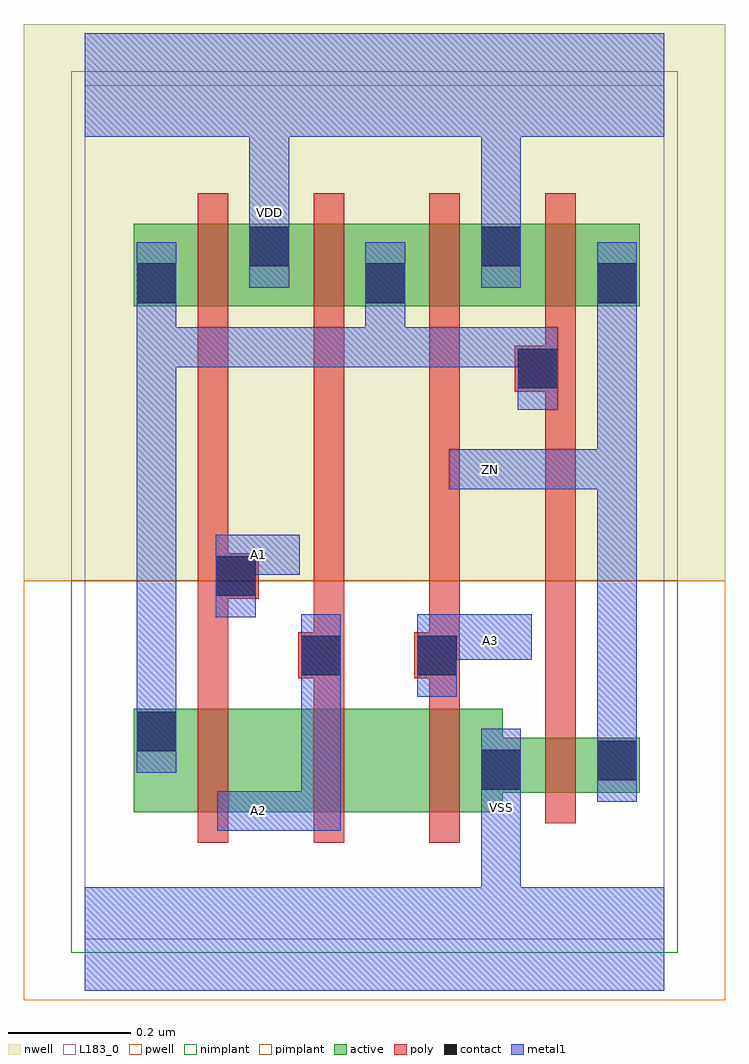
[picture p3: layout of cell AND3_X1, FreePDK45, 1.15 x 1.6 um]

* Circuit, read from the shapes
.subckt AND3_X1 A1 A2 A3 VDD VSS ZN
M1 n1 A1 n2 VSUBS nfet w=0.17u l=0.05u
M2 n3 A2 n1 VSUBS nfet w=0.17u l=0.05u
M3 VSS A3 n3 VSUBS nfet w=0.17u l=0.05u
M4 ZN n2 VSS VSUBS nfet w=0.09u l=0.05u
M5 VDD A1 n2 n4 pfet w=0.135u l=0.05u
M6 n2 A2 VDD n4 pfet w=0.135u l=0.05u
M7 VDD A3 n2 n4 pfet w=0.135u l=0.05u
M8 ZN n2 VDD n4 pfet w=0.135u l=0.05u
.ends

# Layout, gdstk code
import gdstk
lib = gdstk.Library(unit=1e-6, precision=1e-10)
def R(c, l, rs):  # rectangles x0, y0, x1, y1
    for r in rs: c.add(gdstk.rectangle(r[:2], r[2:], *l))
def P(c, l, *ps):  # polygons
    for p in ps: c.add(gdstk.Polygon(p, *l))
active = (1, 0)
pwell = (2, 0)
nwell = (3, 0)
nimplant = (4, 0)
pimplant = (5, 0)
poly = (9, 0)
contact = (10, 0)
metal1 = (11, 0)
L183_0 = (183, 0)

and3_x1 = lib.new_cell('AND3_X1')
P(and3_x1, active, [(0.08,0.2075),(0.185,0.2075),(0.235,0.2075),(0.375,0.2075),(0.425,0.2075),(0.565,0.2075),(0.615,0.2075),(0.685,0.2075),(0.685,0.24),(0.755,0.24),(0.805,0.24),(0.91,0.24),(0.91,0.33),(0.805,0.33),(0.755,0.33),(0.685,0.33),(0.685,0.3775),(0.615,0.3775),(0.565,0.3775),(0.425,0.3775),(0.375,0.3775),(0.235,0.3775),(0.185,0.3775),(0.08,0.3775)],
  [(0.08,1.0375),(0.185,1.0375),(0.235,1.0375),(0.375,1.0375),(0.425,1.0375),(0.565,1.0375),(0.615,1.0375),(0.755,1.0375),(0.805,1.0375),(0.91,1.0375),(0.91,1.1725),(0.805,1.1725),(0.755,1.1725),(0.615,1.1725),(0.565,1.1725),(0.425,1.1725),(0.375,1.1725),(0.235,1.1725),(0.185,1.1725),(0.08,1.1725)])
P(and3_x1, pwell, [(-0.1,-0.1),(1.05,-0.1),(1.05,0.5875),(0.85,0.5875),(0.1,0.5875),(-0.1,0.5875)])
P(and3_x1, nwell, [(-0.1,0.5875),(0.1,0.5875),(0.85,0.5875),(1.05,0.5875),(1.05,1.5),(-0.1,1.5)])
R(and3_x1, nimplant, [(-0.0225,-0.0225,0.9725,0.5875)])
R(and3_x1, pimplant, [(-0.0225,0.5875,0.9725,1.4225)])
P(and3_x1, poly, [(0.185,0.1575),(0.235,0.1575),(0.235,0.2075),(0.235,0.3775),(0.235,0.5575),(0.285,0.5575),(0.285,0.6325),(0.235,0.6325),(0.235,1.0375),(0.235,1.1725),(0.235,1.2225),(0.185,1.2225),(0.185,1.1725),(0.185,1.0375),(0.185,0.3775),(0.185,0.2075)],
  [(0.35,0.4275),(0.375,0.4275),(0.375,0.3775),(0.375,0.2075),(0.375,0.1575),(0.425,0.1575),(0.425,0.2075),(0.425,0.3775),(0.425,1.0375),(0.425,1.1725),(0.425,1.2225),(0.375,1.2225),(0.375,1.1725),(0.375,1.0375),(0.375,0.5025),(0.35,0.5025)],
  [(0.54,0.4275),(0.565,0.4275),(0.565,0.3775),(0.565,0.2075),(0.565,0.1575),(0.615,0.1575),(0.615,0.2075),(0.615,0.3775),(0.615,1.0375),(0.615,1.1725),(0.615,1.2225),(0.565,1.2225),(0.565,1.1725),(0.565,1.0375),(0.565,0.5025),(0.54,0.5025)],
  [(0.705,0.8975),(0.755,0.8975),(0.755,0.33),(0.755,0.24),(0.755,0.19),(0.805,0.19),(0.805,0.24),(0.805,0.33),(0.805,1.0375),(0.805,1.1725),(0.805,1.2225),(0.755,1.2225),(0.755,1.1725),(0.755,1.0375),(0.755,0.9725),(0.705,0.9725)])
R(and3_x1, contact, [(0.65,0.245,0.715,0.31), (0.84,0.26,0.905,0.325), (0.085,0.3075,0.15,0.3725), (0.355,0.4325,0.42,0.4975), (0.545,0.4325,0.61,0.4975), (0.215,0.5625,0.28,0.6275), (0.71,0.9025,0.775,0.9675), (0.085,1.0425,0.15,1.1075), (0.46,1.0425,0.525,1.1075), (0.84,1.0425,0.905,1.1075), (0.27,1.1025,0.335,1.1675), (0.65,1.1025,0.715,1.1675)])
P(and3_x1, metal1, [(0.085,0.2725),(0.15,0.2725),(0.15,0.9375),(0.71,0.9375),(0.71,0.8675),(0.775,0.8675),(0.775,1.0025),(0.525,1.0025),(0.525,1.1425),(0.46,1.1425),(0.46,1.0025),(0.15,1.0025),(0.15,1.1425),(0.085,1.1425)],
  [(0.5975,0.7375),(0.84,0.7375),(0.84,0.225),(0.905,0.225),(0.905,1.1425),(0.84,1.1425),(0.84,0.8025),(0.5975,0.8025)],
  [(0,-0.085),(0.95,-0.085),(0.95,0.085),(0.715,0.085),(0.715,0.345),(0.65,0.345),(0.65,0.085),(0,0.085)],
  [(0,1.315),(0.27,1.315),(0.27,1.0675),(0.335,1.0675),(0.335,1.315),(0.65,1.315),(0.65,1.0675),(0.715,1.0675),(0.715,1.315),(0.95,1.315),(0.95,1.485),(0,1.485)],
  [(0.215,0.5275),(0.28,0.5275),(0.28,0.5975),(0.3525,0.5975),(0.3525,0.6625),(0.215,0.6625)],
  [(0.2175,0.1775),(0.42,0.1775),(0.42,0.5325),(0.355,0.5325),(0.355,0.2425),(0.2175,0.2425)],
  [(0.545,0.3975),(0.61,0.3975),(0.61,0.4575),(0.7325,0.4575),(0.7325,0.5325),(0.545,0.5325)])
R(and3_x1, L183_0, [(0,0,0.95,1.4)])
and3_x1.add(gdstk.Label('A1', (0.285,0.63), layer=11, texttype=0))
and3_x1.add(gdstk.Label('A2', (0.285,0.21), layer=11, texttype=0))
and3_x1.add(gdstk.Label('A3', (0.665,0.49), layer=11, texttype=0))
and3_x1.add(gdstk.Label('VDD', (0.3025,1.1912), layer=11, texttype=0))
and3_x1.add(gdstk.Label('VSS', (0.6825,0.215), layer=11, texttype=0))
and3_x1.add(gdstk.Label('ZN', (0.665,0.77), layer=11, texttype=0))

lib.write_gds('AND3_X1.gds')
